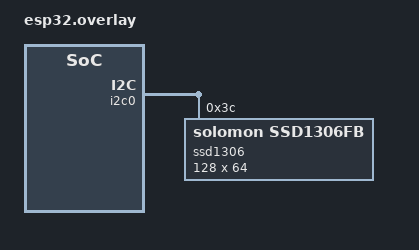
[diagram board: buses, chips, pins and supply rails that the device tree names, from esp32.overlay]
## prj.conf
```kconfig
CONFIG_I2C=y
CONFIG_DISPLAY=y
CONFIG_SSD1306=y
CONFIG_SSD1306_DEFAULT=y
CONFIG_SSD1306_DEFAULT_CONTRAST=128
CONFIG_LOG=y
# CONFIG_CHARACTER_FRAMEBUFFER=y
```

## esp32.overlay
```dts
&i2c0 {
  ssd1306: ssd1306@3C {
    compatible = "solomon,ssd1306fb";
    reg = <0x3C>;
    height = <64>;
    width = <128>;
    segment-offset = <0>;
    page-offset = <0>;
    display-offset = <0>;
    multiplex-ratio = <63>;
    prechargep = <0x22>;
    com-invdir;
    segment-remap;
  };
};
```

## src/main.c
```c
#include <stdint.h>
#include <zephyr/device.h>
#include <zephyr/kernel.h>
#include <zephyr/drivers/display.h>
#include <zephyr/logging/log.h>

#include "logo_image.h"


#define DISPLAY_BUFFER_PITCH 128

LOG_MODULE_REGISTER(display);


static const struct device *display = DEVICE_DT_GET(DT_NODELABEL(ssd1306));

void main(void) {
  if (display == NULL) {
    LOG_ERR("[!] Device pointer is NULL.");
    return;
  }

  if (!device_is_ready(display)) {
    LOG_ERR("[!] Display is not ready.");
    return;
  } 

  struct display_capabilities capabilities;
  display_get_capabilities(display, &capabilities);

  const uint16_t x_res = capabilities.x_resolution;
  const uint16_t y_res = capabilities.y_resolution;

  LOG_INF("X_resolution: %d", capabilities.x_resolution);
  LOG_INF("Y_resolution: %d", capabilities.y_resolution);
  LOG_INF("supported pixel formats: %d", capabilities.supported_pixel_formats);
  LOG_INF("screen_info: %d", capabilities.screen_info);
  LOG_INF("current_pixel_format: %d", capabilities.current_pixel_format);
  LOG_INF("current_orientation: %d", capabilities.current_orientation);
  
  const struct display_buffer_descriptor buf_desc = {
    .width = x_res,
    .height = y_res,
    .buf_size = x_res * y_res,
    .pitch = DISPLAY_BUFFER_PITCH
  };

  if (display_write(display, 0, 0, &buf_desc, buf) != 0) {
    LOG_ERR("[!] Unable to write to buffer");
  }

}
```

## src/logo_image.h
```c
#include <stdint.h>
uint8_t buf[1024] = {
0x00, 0x00, 0x00, 0x00, 0x00, 0x00, 0x00, 0x00, 0x00, 0x00, 0x00, 0x00, 0x00, 0x00, 0x00, 0x00, 
0x00, 0x00, 0x00, 0x00, 0x00, 0x00, 0x00, 0x00, 0x00, 0x00, 0x00, 0x00, 0x00, 0x00, 0x00, 0x00, 
0x00, 0x00, 0x00, 0x00, 0x00, 0x00, 0x00, 0x00, 0x00, 0x00, 0x00, 0x00, 0x00, 0x00, 0x00, 0x00, 
0x00, 0x00, 0x00, 0x00, 0x00, 0x00, 0x00, 0x00, 0x00, 0x00, 0x00, 0x80, 0x80, 0x80, 0x80, 0x00, 
0x00, 0x80, 0x80, 0x80, 0x80, 0x00, 0x00, 0x00, 0x00, 0x00, 0x00, 0x00, 0x00, 0x00, 0x00, 0x00, 
0x00, 0x00, 0x00, 0x00, 0x00, 0x00, 0x00, 0x00, 0x00, 0x00, 0x00, 0x00, 0x00, 0x00, 0x00, 0x00, 
0x00, 0x00, 0x00, 0x00, 0x00, 0x00, 0x00, 0x00, 0x00, 0x00, 0x00, 0x00, 0x00, 0x00, 0x00, 0x00, 
0x00, 0x00, 0x00, 0x00, 0x00, 0x00, 0x00, 0x00, 0x00, 0x00, 0x00, 0x00, 0x00, 0x00, 0x00, 0x00, 
0x00, 0x00, 0x00, 0x00, 0x00, 0x00, 0x00, 0x00, 0x00, 0x00, 0x00, 0x00, 0x00, 0x00, 0x00, 0x00, 
0x00, 0x00, 0x00, 0x00, 0x00, 0x00, 0x00, 0x00, 0x00, 0x00, 0x00, 0x00, 0x00, 0x00, 0x00, 0x00, 
0x00, 0x00, 0x00, 0x00, 0x00, 0x00, 0x00, 0x00, 0x00, 0x00, 0x00, 0x00, 0x00, 0x00, 0x00, 0x80, 
0xc0, 0xe0, 0xf0, 0xf8, 0xfc, 0xfc, 0xfe, 0xfe, 0xff, 0xff, 0xff, 0x1f, 0x1f, 0x0f, 0x0f, 0x00, 
0x00, 0x0f, 0x0f, 0x1f, 0x1f, 0xff, 0xff, 0xff, 0xfe, 0xfe, 0xfc, 0xfc, 0xf8, 0xf0, 0xe0, 0xc0, 
0x80, 0x00, 0x00, 0x00, 0x00, 0x00, 0x00, 0x00, 0x00, 0x00, 0x00, 0x00, 0x00, 0x00, 0x00, 0x00, 
0x00, 0x00, 0x00, 0x00, 0x00, 0x00, 0x00, 0x00, 0x00, 0x00, 0x00, 0x00, 0x00, 0x00, 0x00, 0x00, 
0x00, 0x00, 0x00, 0x00, 0x00, 0x00, 0x00, 0x00, 0x00, 0x00, 0x00, 0x00, 0x00, 0x00, 0x00, 0x00, 
0x00, 0x00, 0x00, 0x00, 0x00, 0x00, 0x00, 0x00, 0x00, 0x00, 0x00, 0x00, 0x00, 0x00, 0x00, 0x00, 
0x00, 0x00, 0x00, 0x00, 0x00, 0x00, 0x00, 0x00, 0x00, 0x00, 0x00, 0x00, 0x00, 0x00, 0x00, 0x00, 
0x00, 0x00, 0x00, 0x00, 0x00, 0x00, 0x00, 0x00, 0x00, 0x00, 0x00, 0x00, 0xc0, 0xf8, 0xfe, 0xff, 
0xff, 0xff, 0xff, 0xff, 0xff, 0xff, 0xff, 0xff, 0xff, 0xff, 0xff, 0x86, 0x86, 0x86, 0x86, 0x86, 
0x86, 0x86, 0x86, 0x86, 0x86, 0xff, 0xff, 0xff, 0xff, 0xff, 0xff, 0xff, 0xff, 0xff, 0xff, 0xff, 
0xff, 0xfe, 0xf8, 0xc0, 0x00, 0x00, 0x00, 0x00, 0x00, 0x00, 0x00, 0x00, 0x00, 0x00, 0x00, 0x00, 
0x00, 0x00, 0x00, 0x00, 0x00, 0x00, 0x00, 0x00, 0x00, 0x00, 0x00, 0x00, 0x00, 0x00, 0x00, 0x00, 
0x00, 0x00, 0x00, 0x00, 0x00, 0x00, 0x00, 0x00, 0x00, 0x00, 0x00, 0x00, 0x00, 0x00, 0x00, 0x00, 
0x00, 0x00, 0x00, 0x00, 0x00, 0x00, 0x00, 0x00, 0x00, 0x00, 0x00, 0x00, 0x00, 0x00, 0x00, 0x00, 
0x00, 0x00, 0x00, 0x00, 0x00, 0x00, 0x00, 0x00, 0x00, 0x00, 0x00, 0x00, 0x00, 0x00, 0x00, 0x00, 
0x00, 0x00, 0x00, 0x00, 0x00, 0x00, 0x00, 0x00, 0x00, 0x00, 0x00, 0x00, 0xff, 0xff, 0xff, 0xff, 
0xff, 0xff, 0xff, 0xff, 0xff, 0xff, 0xff, 0xff, 0xff, 0xff, 0xff, 0x21, 0x21, 0x21, 0x21, 0x21, 
0x21, 0x21, 0x21, 0x21, 0x21, 0xff, 0xff, 0xff, 0xff, 0xff, 0xff, 0xff, 0xff, 0xff, 0xff, 0xff, 
0xff, 0xff, 0xff, 0xff, 0x00, 0x00, 0x00, 0x00, 0x00, 0x00, 0x00, 0x00, 0x00, 0x00, 0x00, 0x00, 
0x00, 0x00, 0x00, 0x00, 0x00, 0x00, 0x00, 0x00, 0x00, 0x00, 0x00, 0x00, 0x00, 0x00, 0x00, 0x00, 
0x00, 0x00, 0x00, 0x00, 0x00, 0x00, 0x00, 0x00, 0x00, 0x00, 0x00, 0x00, 0x00, 0x00, 0x00, 0x00, 
0x00, 0x00, 0x00, 0x00, 0x00, 0x00, 0x00, 0x00, 0x00, 0x00, 0x00, 0x00, 0x00, 0x00, 0x00, 0x00, 
0x00, 0x00, 0x00, 0x00, 0x00, 0x00, 0x00, 0x00, 0x00, 0x00, 0x00, 0x00, 0x00, 0x00, 0x00, 0x00, 
0x00, 0x00, 0x00, 0x00, 0x00, 0x00, 0x00, 0x00, 0x00, 0x00, 0x00, 0x00, 0x00, 0x07, 0x1f, 0x7f, 
0xff, 0xff, 0xff, 0xff, 0xff, 0xff, 0xff, 0xff, 0xff, 0xff, 0xff, 0x18, 0x18, 0x18, 0x18, 0x18, 
0x18, 0x18, 0x18, 0x18, 0x18, 0xff, 0xff, 0xff, 0xff, 0xff, 0xff, 0xff, 0xff, 0xff, 0xff, 0xff, 
0x7f, 0x1f, 0x07, 0x00, 0x00, 0x00, 0x00, 0x00, 0x00, 0x00, 0x00, 0x00, 0x00, 0x00, 0x00, 0x00, 
0x00, 0x00, 0x00, 0x00, 0x00, 0x00, 0x00, 0x00, 0x00, 0x00, 0x00, 0x00, 0x00, 0x00, 0x00, 0x00, 
0x00, 0x00, 0x00, 0x00, 0x00, 0x00, 0x00, 0x00, 0x00, 0x00, 0x00, 0x00, 0x00, 0x00, 0x00, 0x00, 
0x00, 0x00, 0x00, 0x00, 0x00, 0x00, 0x00, 0x00, 0x00, 0x00, 0x00, 0x00, 0x00, 0x00, 0x00, 0x00, 
0x00, 0x00, 0x00, 0x00, 0x00, 0x00, 0x00, 0x00, 0x00, 0x00, 0x00, 0x00, 0x00, 0x00, 0x00, 0x00, 
0x00, 0x00, 0x00, 0x00, 0x00, 0x00, 0x00, 0x00, 0x00, 0x00, 0x00, 0x00, 0x00, 0x00, 0x00, 0x00, 
0x00, 0x01, 0x03, 0x07, 0x0f, 0x0f, 0x1f, 0x1f, 0x3f, 0x3f, 0x3f, 0x7e, 0x7e, 0x7c, 0x7c, 0x00, 
0x00, 0x7c, 0x7c, 0x7e, 0x7e, 0x3f, 0x3f, 0x3f, 0x1f, 0x1f, 0x0f, 0x0f, 0x07, 0x03, 0x01, 0x00, 
0x00, 0x00, 0x00, 0x00, 0x00, 0x00, 0x00, 0x00, 0x00, 0x00, 0x00, 0x00, 0x00, 0x00, 0x00, 0x00, 
0x00, 0x00, 0x00, 0x00, 0x00, 0x00, 0x00, 0x00, 0x00, 0x00, 0x00, 0x00, 0x00, 0x00, 0x00, 0x00, 
0x00, 0x00, 0x00, 0x00, 0x00, 0x00, 0x00, 0x00, 0x00, 0x00, 0x00, 0x00, 0x00, 0x00, 0x00, 0x00, 
0x00, 0x00, 0x00, 0x00, 0x00, 0x00, 0x00, 0x00, 0x00, 0x00, 0x00, 0x00, 0x10, 0x10, 0xf0, 0x10, 
0x10, 0x00, 0xf0, 0x80, 0x80, 0x80, 0xf0, 0x00, 0xf0, 0x90, 0x90, 0x90, 0x10, 0x00, 0x00, 0x00, 
0xf0, 0x90, 0x90, 0x90, 0x60, 0x00, 0xf0, 0x00, 0x00, 0x00, 0xf0, 0x00, 0xf0, 0x00, 0x00, 0x00, 
0x00, 0x00, 0xf0, 0x00, 0x00, 0x00, 0x00, 0x80, 0x80, 0x80, 0x00, 0xf0, 0x00, 0x00, 0x00, 0xf0, 
0x00, 0xf0, 0x90, 0x90, 0x90, 0x60, 0x00, 0x00, 0x00, 0xf0, 0x90, 0x90, 0x90, 0x60, 0x00, 0xf0, 
0x90, 0x90, 0x10, 0x10, 0x00, 0x60, 0x90, 0x90, 0x90, 0x10, 0x00, 0xf0, 0x00, 0x60, 0x90, 0x90, 
0x90, 0x10, 0x00, 0x10, 0x10, 0xf0, 0x10, 0x10, 0x00, 0xe0, 0x10, 0x10, 0x10, 0xe0, 0x00, 0xf0, 
0x90, 0x90, 0x90, 0x60, 0x00, 0x00, 0x00, 0x00, 0x00, 0x00, 0x00, 0x00, 0x00, 0x00, 0x00, 0x00, 
0x00, 0x00, 0x00, 0x00, 0x00, 0x00, 0x00, 0x00, 0x00, 0x00, 0x00, 0x00, 0x00, 0x00, 0x07, 0x00, 
0x00, 0x00, 0x07, 0x00, 0x00, 0x00, 0x07, 0x00, 0x07, 0x04, 0x04, 0x04, 0x04, 0x00, 0x00, 0x00, 
0x07, 0x00, 0x00, 0x00, 0x00, 0x00, 0x03, 0x04, 0x04, 0x04, 0x03, 0x00, 0x07, 0x04, 0x04, 0x04, 
0x04, 0x00, 0x07, 0x04, 0x04, 0x04, 0x04, 0x00, 0x00, 0x00, 0x00, 0x03, 0x04, 0x04, 0x04, 0x03, 
0x00, 0x07, 0x00, 0x00, 0x00, 0x00, 0x00, 0x00, 0x00, 0x07, 0x00, 0x00, 0x01, 0x06, 0x00, 0x07, 
0x04, 0x04, 0x04, 0x04, 0x00, 0x04, 0x04, 0x04, 0x04, 0x03, 0x00, 0x07, 0x00, 0x04, 0x04, 0x04, 
0x04, 0x03, 0x00, 0x00, 0x00, 0x07, 0x00, 0x00, 0x00, 0x03, 0x04, 0x04, 0x04, 0x03, 0x00, 0x07, 
0x00, 0x00, 0x01, 0x06, 0x00, 0x00, 0x00, 0x00, 0x00, 0x00, 0x00, 0x00, 0x00, 0x00, 0x00, 0x00};
```
